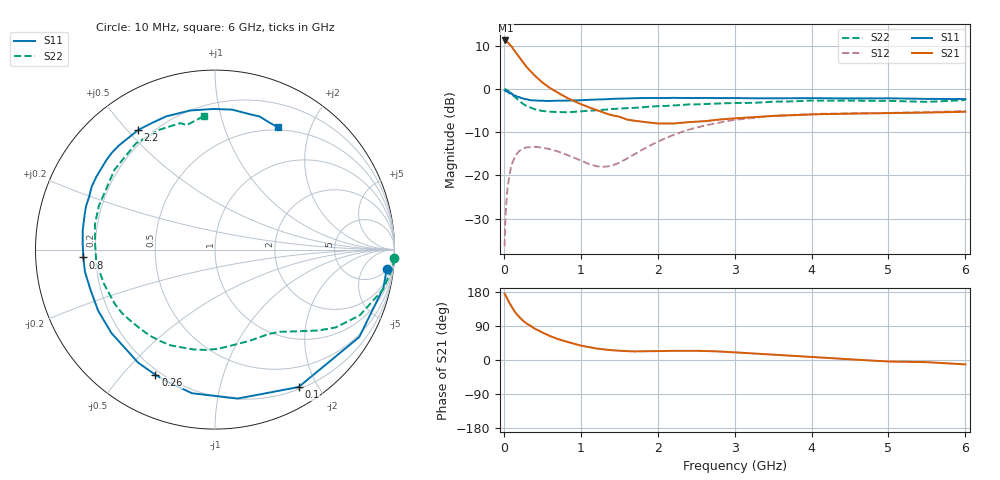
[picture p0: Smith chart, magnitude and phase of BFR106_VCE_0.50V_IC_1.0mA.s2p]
! Infineon Technologies  Discrete & RF Semiconductors
! BFR106
! VCE = 0.50 V,  IC =  1.0 mA
! Common Emitter S-Parameters:  Nov 2015
# GHz  S  MA  R  50
!  f  S11  S21  S12  S22
! GHz  MAG  ANG  MAG  ANG  MAG  ANG  MAG  ANG
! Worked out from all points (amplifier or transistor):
!   210 points, 10 MHz to 6 GHz, reference 50 ohm
!   highest |S21| = 11.3 dB at 20 MHz (marker M1)
!   |S21| within 3 dB of that: start of sweep to 165.4 MHz
!   unconditionally stable (mu >= 1): 799.4 MHz to end of sweep
!   at 185 MHz: K = 0.25, MSG = 11.2 dB, |S12| = -14.7 dB
!   at 1.52 GHz: K = 1.57, MAG = 0.7 dB, |S12| = -16.9 dB
!   at 6 GHz: K = 1.02, MAG = -1.0 dB, |S12| = -5.1 dB
!   S11 on the Smith chart (normalised r, x): 10 MHz: 6, -16; 100 MHz: 0.23, -1.76; 260 MHz: 0.18, -0.62; 800 MHz: 0.15, -0.03; 2.2 GHz: 0.15, +0.54; 6 GHz: 0.47, +1.54
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0.01  0.9634 -6.3  3.648 175.1  0.0152 87.0  0.9986 -2.8
0.02  0.9622 -12.8  3.654 171.5  0.0305 81.5  0.9957 -5.6
0.035  0.9389 -21.9  3.552 165.1  0.0521 74.3  0.9767 -9.4
0.05  0.94 -31.2  3.496 158.4  0.074 71.3  0.9622 -13.4
0.1  0.8962 -58.7  3.125 140.8  0.1327 55.8  0.8855 -24.5
0.15  0.8394 -81.3  2.705 124.9  0.1694 43.0  0.8001 -32.8
0.2  0.8106 -99.1  2.354 113.5  0.1925 34.1  0.7319 -38.0
0.26  0.773 -115.4  1.98 101.8  0.2066 25.7  0.6649 -43.1
0.3  0.7616 -124.2  1.785 95.6  0.2119 21.6  0.6356 -45.8
0.4  0.7411 -141.1  1.44 82.8  0.2149 13.2  0.584 -51.6
0.5  0.7346 -152.5  1.193 72.2  0.2107 7.6  0.5582 -57.2
0.6  0.7289 -162.3  1.029 63.2  0.2018 3.8  0.5474 -63.2
0.8  0.7352 -176.6  0.809 49.1  0.1763 0.6  0.5402 -75.8
1.02  0.7454 170.5  0.66 37.4  0.1464 4.1  0.5544 -90.0
1.4  0.7713 152.9  0.499 25.8  0.1298 31.3  0.5876 -114.7
2.02  0.7873 128.6  0.4 23.5  0.2504 51.1  0.6351 -152.6
2.2  0.7923 122.7  0.399 24.3  0.2935 49.2  0.6468 -162.6
2.6  0.7905 110.0  0.424 24.0  0.3767 41.2  0.6701 176.9
3.1  0.7848 98.2  0.464 19.0  0.4488 29.8  0.6906 155.7
4.1  0.7836 81.8  0.512 6.9  0.5173 10.7  0.7348 124.4
5.1  0.7792 70.6  0.529 -4.3  0.5318 -2.1  0.7266 104.8
6  0.7665 62.8  0.547 -11.6  0.5569 -10.9  0.7471 94.7
